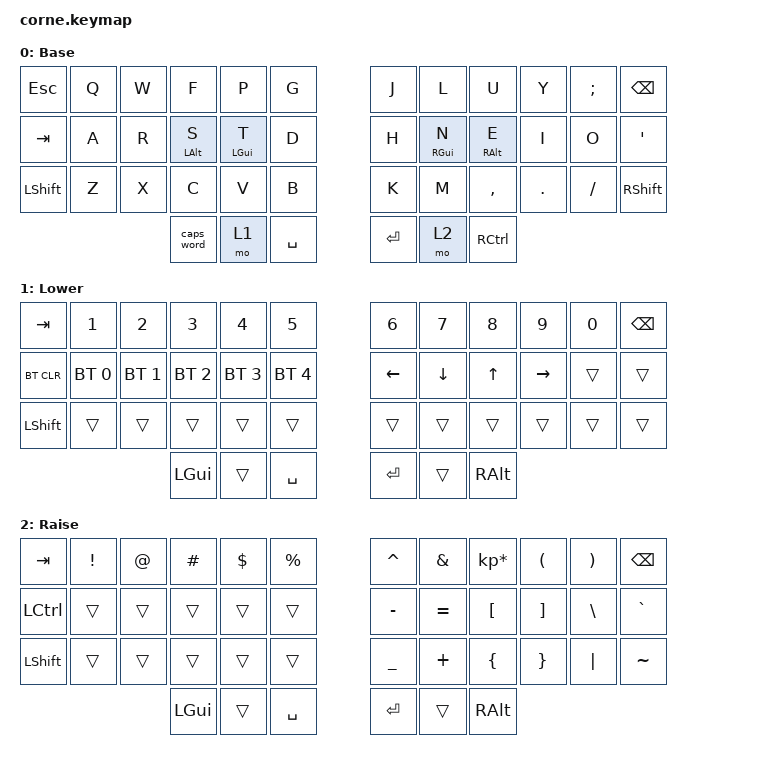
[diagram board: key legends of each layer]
/*
 * Copyright (c) 2020 The ZMK Contributors
 *
 * SPDX-License-Identifier: MIT
 */

#include <behaviors.dtsi>
#include <dt-bindings/zmk/keys.h>
#include <dt-bindings/zmk/bt.h>

/ {
    behaviors {
        hml: home_row_mod_left {
            compatible = "zmk,behavior-hold-tap";
            #binding-cells = <2>;
            flavor = "balanced";
            require-prior-idle-ms = <150>;
            tapping-term-ms = <280>;
            quick-tap-ms = <175>;
            bindings = <&kp>, <&kp>;
            hold-trigger-key-positions = <6 7 8 9 10 11 18 19 20 21 22 23 30 31 32 33 34 35 39 40 41>; // List of keys on the right side of the keyboard
            hold-trigger-on-release;
        };
        hmr: home_row_mod_right {
            compatible = "zmk,behavior-hold-tap";
            #binding-cells = <2>;
            flavor = "balanced";
            require-prior-idle-ms = <150>;
            tapping-term-ms = <280>;
            quick-tap-ms = <175>;
            bindings = <&kp>, <&kp>;
            hold-trigger-key-positions = <0 1 2 3 4 5 12 13 14 15 16 17 24 25 26 27 28 29 36 37 38>; // List of keys on the left side of the keyboard
            hold-trigger-on-release;
        };
    };
};

/ {
        keymap {
                compatible = "zmk,keymap";

                default_layer {
// -----------------------------------------------------------------------------------------
// | ESC |  Q |  W  |  F  |  P  |  G  |   |  J  |  L   |  U  |  Y  |  ;  | BKSP |
// | TAB |  A |  R  | ALT/S | GUI/T | D |   | H | GUI/N | ALT/E |  I  |  O  |  '  |
// | SHFT | Z |  X  |  C  |  V  |  B  |   |  K  |  M   |  ,  |  .  |  /  | SHFT  |
//                    | CAPS | LWR | SPC |   | ENT | RSE  | CTRL |
                        display-name = "Base";
                        bindings = <
   &kp ESC &kp Q &kp W &kp F       &kp P &kp G &kp J   &kp L &kp U        &kp Y   &kp SEMI    &kp BSPC
   &kp TAB &kp A &kp R &hml LALT S &hml LGUI T &kp D   &kp H &hmr RGUI N  &hmr RALT E  &kp I  &kp O  &kp SQT
   &kp LSHFT &kp Z &kp X &kp C &kp V &kp B   &kp K &kp M  &kp COMMA &kp DOT &kp FSLH &kp RSHFT
                  &caps_word &mo 1 &kp SPACE   &kp RET &mo 2 &kp RCTRL
                        >;
                };
                lower_layer {
// -----------------------------------------------------------------------------------------
// |  TAB |  1  |  2  |  3  |  4  |  5  |   |  6  |  7  |  8  |  9  |  0  | BKSP |
// | BTCLR| BT1 | BT2 | BT3 | BT4 | BT5 |   | LFT | DWN |  UP | RGT |     |      |
// | SHFT |     |     |     |     |     |   |     |     |     |     |     |      |
//                    | GUI |     | SPC |   | ENT |     | ALT |
                        display-name = "Lower";
                        bindings = <
   &kp TAB    &kp N1       &kp N2       &kp N3       &kp N4       &kp N5         &kp N6   &kp N7   &kp N8 &kp N9    &kp N0 &kp BSPC
   &bt BT_CLR &bt BT_SEL 0 &bt BT_SEL 1 &bt BT_SEL 2 &bt BT_SEL 3 &bt BT_SEL 4   &kp LEFT &kp DOWN &kp UP &kp RIGHT &trans &trans
   &kp LSHFT  &trans       &trans       &trans       &trans       &trans         &trans   &trans   &trans &trans    &trans &trans
                          	        &kp LGUI     &trans       &kp SPACE      &kp RET  &trans   &kp RALT
                        >;
                };

                raise_layer {
// -----------------------------------------------------------------------------------------
// |  TAB |  !  |  @  |  #  |  $  |  %  |   |  ^  |  &  |  *  |  (  |  )  | BKSP |
// | CTRL |     |     |     |     |     |   |  -  |  =  |  [  |  ]  |  \  |  `   |
// | SHFT |     |     |     |     |     |   |  _  |  +  |  {  |  }  | "|" |  ~   |
//                    | GUI |     | SPC |   | ENT |     | ALT |
                        display-name = "Raise";
                        bindings = <
   &kp  TAB  &kp EXCL &kp AT &kp HASH &kp DLLR &kp PRCNT   &kp CARET &kp AMPS  &kp KP_MULTIPLY &kp LPAR &kp RPAR &kp BSPC
   &kp LCTRL &trans   &trans &trans   &trans   &trans      &kp MINUS &kp EQUAL &kp LBKT        &kp RBKT &kp BSLH &kp GRAVE
   &kp LSHFT &trans   &trans &trans   &trans   &trans      &kp UNDER &kp PLUS  &kp LBRC        &kp RBRC &kp PIPE &kp TILDE
                    	     &kp LGUI &trans   &kp SPACE   &kp RET   &trans    &kp RALT
                        >;
                };

                extra_1 {
                        status = "reserved";
                };

                extra_2 {
                        status = "reserved";
                };

                extra_3 {
                        status = "reserved";
                };
        };
};
